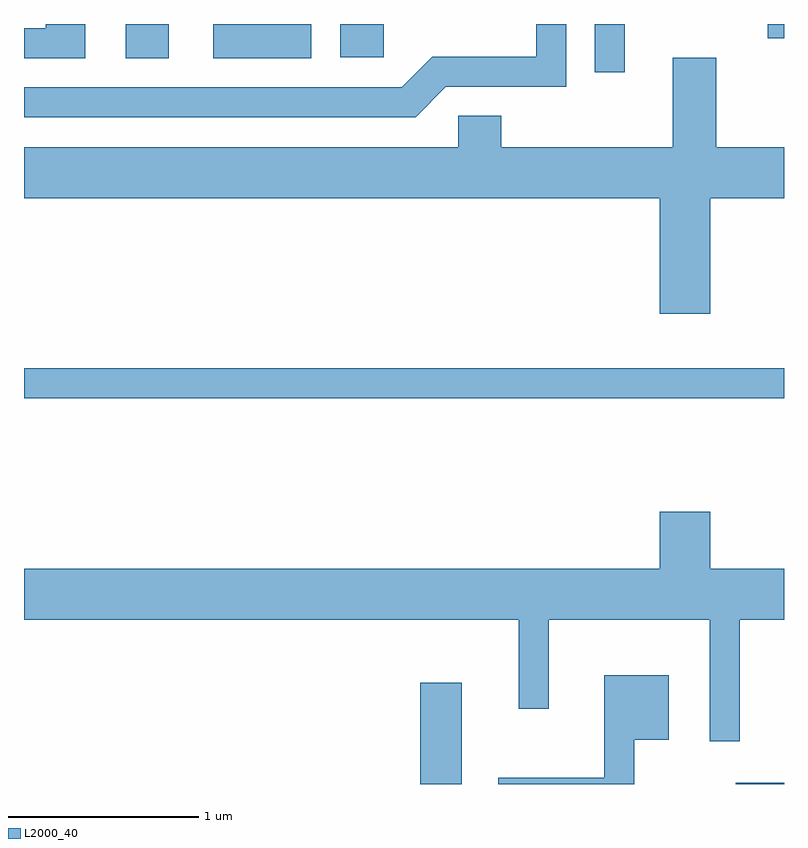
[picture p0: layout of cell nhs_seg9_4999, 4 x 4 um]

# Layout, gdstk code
import gdstk
lib = gdstk.Library(unit=1e-6, precision=1e-09)
def R(c, l, rs):  # rectangles x0, y0, x1, y1
    for r in rs: c.add(gdstk.rectangle(r[:2], r[2:], *l))
def P(c, l, *ps):  # polygons
    for p in ps: c.add(gdstk.Polygon(p, *l))
L2000_40 = (2000, 40)

nhs_seg9_4999 = lib.new_cell('nhs_seg9_4999')
R(nhs_seg9_4999, L2000_40, [(333.696,2066.432,333.914,2066.964), (335.356,2066.432,335.611,2066.439), (331.611,2068.461,335.611,2068.619), (334.616,2070.178,334.774,2070.432), (332.146,2070.251,332.374,2070.432), (332.606,2070.251,333.124,2070.432), (333.276,2070.256,333.504,2070.432), (335.526,2070.356,335.611,2070.432)])
P(nhs_seg9_4999, L2000_40, [(331.934,2070.432),(331.726,2070.432),(331.726,2070.409),(331.611,2070.409),(331.611,2070.251),(331.934,2070.251)],
  [(333.832,2070.101),(334.464,2070.101),(334.464,2070.432),(334.306,2070.432),(334.306,2070.259),(333.759,2070.259),(333.599,2070.099),(331.611,2070.099),(331.611,2069.941),(333.672,2069.941)],
  [(335.224,2069.516),(335.611,2069.516),(335.611,2069.784),(335.254,2069.784),(335.254,2070.254),(335.026,2070.254),(335.026,2069.784),(334.124,2069.784),(334.124,2069.949),(333.896,2069.949),(333.896,2069.784),(331.611,2069.784),(331.611,2069.516),(334.956,2069.516),(334.956,2068.906),(335.224,2068.906)],
  [(335.379,2067.296),(335.611,2067.296),(335.611,2067.564),(335.224,2067.564),(335.224,2067.864),(334.956,2067.864),(334.956,2067.564),(331.611,2067.564),(331.611,2067.296),(334.216,2067.296),(334.216,2066.827),(334.374,2066.827),(334.374,2067.296),(335.221,2067.296),(335.221,2066.658),(335.379,2066.658)],
  [(334.824,2066.666),(335.004,2066.666),(335.004,2067.004),(334.666,2067.004),(334.666,2066.464),(334.106,2066.464),(334.106,2066.432),(334.824,2066.432)])

lib.write_gds('nhs_seg9_4999.gds')
